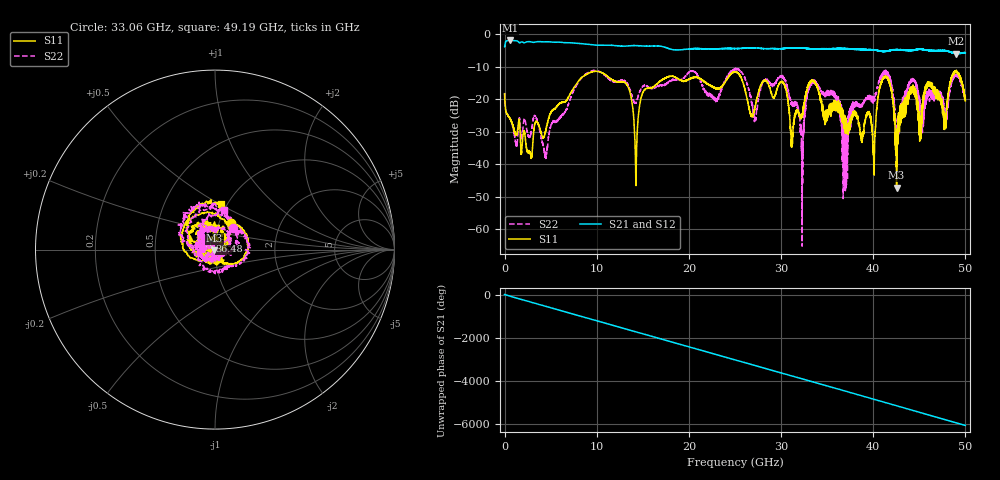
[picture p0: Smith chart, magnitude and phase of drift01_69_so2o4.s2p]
!Created with skrf (http://scikit-rf.org).
# Hz S RI R 50.0
!freq ReS11 ImS11 ReS21 ImS21 ReS12 ImS12 ReS22 ImS22
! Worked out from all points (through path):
!   10001 points, 300 kHz to 50 GHz, reference 50 ohm
!   highest |S21| = -2.00 dB at 575.3 MHz (marker M1); lowest = -6.1 dB at 48.98 GHz (marker M2)
!   group delay of S21, straight-line fit = 336 ps
!   lowest |S11| = -47.2 dB at 42.54 GHz (marker M3), VSWR 1.01, Z = 49.7 - j0.285 ohm
!   |S11| at or under -10 dB: start of sweep to end of sweep
!   |S22| runs from -65.1 to -10.5 dB; largest |S21 - S12| = 0.022
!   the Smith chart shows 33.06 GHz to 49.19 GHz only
!   S11 on the Smith chart (normalised r, x): 33.06 GHz: 1.14, +0.35; 36.48 GHz: 0.94, +0.09; 49.19 GHz: 0.94, +0.51
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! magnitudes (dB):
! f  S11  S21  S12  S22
! 300 kHz  -18.4  -3.9  -4.0  -18.1
! 575.3 MHz  -26.0  -2.0  -2.0  -25.9
! 4.445 GHz  -29.8  -2.4  -2.4  -37.6
! 8.335 GHz  -13.5  -3.0  -3.0  -13.5
! 13.17 GHz  -15.2  -3.7  -3.7  -14.6
! 14.25 GHz  -46.6  -3.6  -3.6  -21.1
! 16.67 GHz  -14.9  -3.7  -3.7  -15.9
! 25 GHz  -11.6  -4.5  -4.5  -10.8
! 27.18 GHz  -22.4  -4.3  -4.3  -26.0
! 30.22 GHz  -14.9  -4.5  -4.5  -13.4
! 31.16 GHz  -33.2  -4.3  -4.3  -21.1
! 32.27 GHz  -25.1  -4.4  -4.3  -40.6
! 33.06 GHz  -15.1  -4.5  -4.5  -16.1
! 33.34 GHz  -14.2  -4.6  -4.6  -14.6
! 36.48 GHz  -25.1  -4.4  -4.4  -26.1
! 36.99 GHz  -27.0  -4.5  -4.6  -40.8
! 40.04 GHz  -36.4  -4.9  -4.9  -20.0
! 41.67 GHz  -13.9  -5.1  -5.1  -13.1
! 42.54 GHz  -47.2  -4.9  -4.8  -31.8
! 48.98 GHz  -11.6  -6.1  -6.0  -12.7
! 49.19 GHz  -11.9  -6.0  -5.9  -13.0
! 50 GHz  -20.5  -5.8  -5.7  -19.4
